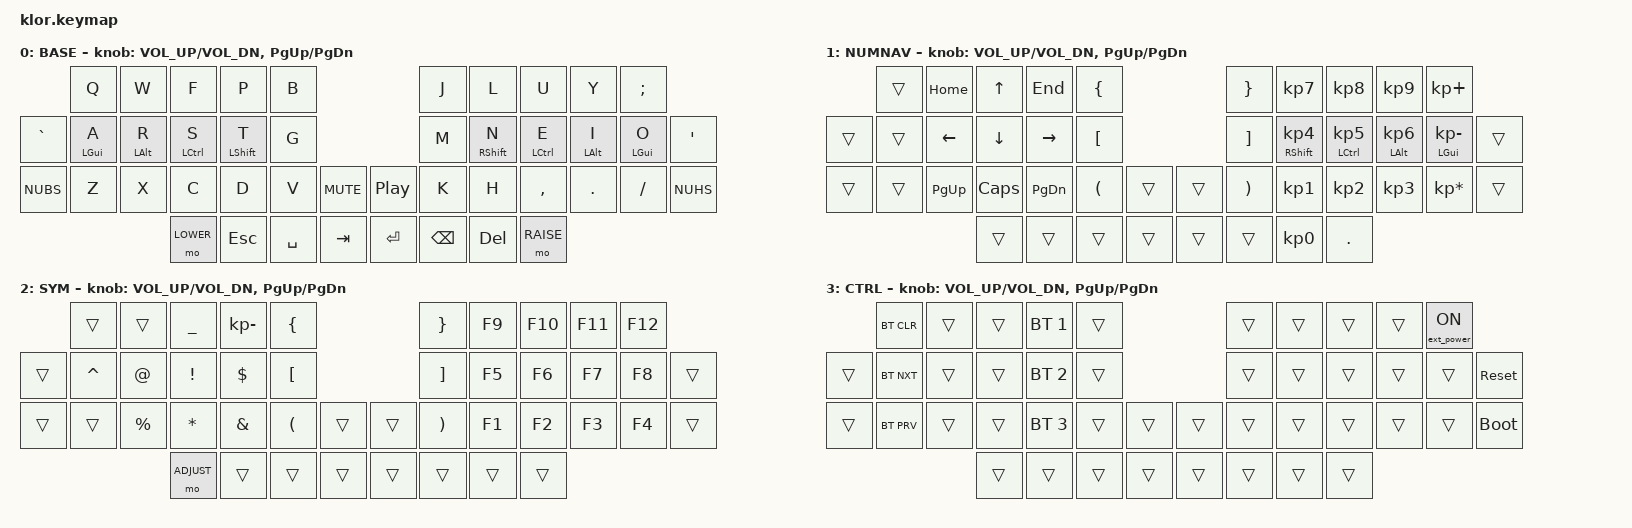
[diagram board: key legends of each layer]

//                               █         █    █            ▄▄▄▀▀▀▀▀▀▄▄▄        █▀▀▀▀▀▀▀▀▀▀█
//                               █        █     █          ▄▀            ▀▄      █          █
//                               █       █      █        ▄▀                ▀▄    █          █
//                               █      █       █        █                  █    █          █
//                               █     █        █       █                    █   █          █
//                               █    █         █       █                    █   █▄▄▄▄▄▄▄▄▄▄█
//                               █   █ █        █       █                    █   █      █
//                               █  █   █       █        █                  █    █       █
//                               █ █     █      █        ▀▄                ▄▀    █        █
//                               ██       █     █          ▀▄            ▄▀      █         █
//                               █         █    █▄▄▄▄▄▄▄▄    ▀▀▀▄▄▄▄▄▄▀▀▀        █          █
//
// ▄▄▄▄▄▄▄▄▄▄▄▄▄▄▄▄▄▄▄▄▄▄▄▄▄▄▄▄▄▄▄▄▄▄▄▄▄▄▄▄▄▄▄▄▄▄▄▄▄▄▄▄▄▄▄▄▄▄▄▄▄▄▄▄▄▄▄▄▄▄▄▄▄▄▄▄▄▄▄▄▄▄▄▄▄▄▄▄▄▄▄▄▄▄▄▄▄▄▄▄▄▄▄▄▄▄▄▄▄▄▄▄▄▄▄▄▄▄▄▄▄▄▄▄▄

#include <behaviors.dtsi>
#include <dt-bindings/zmk/keys.h>
#include <dt-bindings/zmk/bt.h>
#include <dt-bindings/zmk/outputs.h>
#include <dt-bindings/zmk/ext_power.h>
#include <dt-bindings/zmk/rgb.h>


#define BASE   0
#define LOWER  1
#define RAISE  2
#define ADJUST 3


/ {
    behaviors {
        hm: homerow_mods {
            compatible = "zmk,behavior-hold-tap";
            label = "HOMEROW_MODS";
            #binding-cells = <2>;
            tapping-term-ms = <150>;
            quick_tap_ms = <0>;
            flavor = "tap-preferred";
            bindings = <&kp>, <&kp>;
        };

    };

     combos {
            compatible = "zmk,combos";
            combo_esc {
                timeout-ms = <50>;
                key-positions = <0 1>;
                bindings = <&kp ESC>;
            };
    };


        keymap {
                compatible = "zmk,keymap";
// ▄▄▄▄▄▄▄▄▄▄▄▄▄▄▄▄▄▄▄▄▄▄▄▄▄▄▄▄▄▄▄▄▄▄▄▄▄▄▄▄▄▄▄▄▄▄▄▄▄▄▄▄▄▄▄▄▄▄▄▄▄▄▄▄▄▄▄▄▄▄▄▄▄▄▄▄▄▄▄▄▄▄▄▄▄▄▄▄▄▄▄▄▄▄▄▄▄▄▄▄▄▄▄▄▄▄▄▄▄▄▄▄▄▄▄▄▄▄▄▄▄▄▄▄▄▄▄▄▄▄▄▄▄▄▄▄▄▄▄▄▄▄


                base_layer {
// ┌-----------------------------------------------------------┐
label= "BASE"                                                  ;
// └-----------------------------------------------------------┘
/*            ┌---------┬---------┬---------┬---------┬---------┐                    ┌---------┬---------┬---------┬---------┬---------┐
              │    Q    │    W    │    F    │    P    │    B    │                    │    J    │    L    │    U    │    Y    │    ;:   │
   ┌---------┼---------┼---------┼---------┼---------┼---------┤                    ├---------┼---------┼---------┼---------┼---------┼---------┐
   │    `    │    gA   │    aR   │   cS    │   sT    │    G    │                    │    M    │    sN   │    cE   │    aI   │    gO   │    '"   │
   ├---------┼---------┼---------┼---------┼---------┼---------┤╭------╮╭--------╮├---------┼---------┼---------┼---------┼---------┼---------┤
   │    \|   │    Z    │    X    │    C    │    D    │    V    ││ MUTE ││PLY/PSE ││    K    │    H    │    ,<   │    .>   │    /?   │    #~   │
   └---------┴---------┴---------┼---------┼---------┼---------┼╰------╯╰--------╯┼---------┼---------┼---------┼---------┴---------┴---------┘
                                 │  LOWER  │  ESC    │  SPACE  │   TAB   │  │   ENTER │  BSCPE  │  DEL    │  RAISE  │
                                 └---------┴---------┴---------┴---------┘  └---------┴---------┴---------┴---------┘ */
 bindings = <
 //   ╷         ╷         ╷         ╷         ╷         ╷         ╷         ╷     ╷         ╷         ╷         ╷         ╷         ╷         ╷         ╷
                 &kp Q     &kp W     &kp F     &kp P     &kp B                                 &kp J     &kp L     &kp U     &kp Y     &kp SEMI
       &kp GRAVE &hm LGUI A &hm LALT R &hm LCTRL S &hm LSHFT T &kp G                           &kp M &hm RSHFT N &hm LCTRL E &hm LALT I &hm LGUI O &kp SQT
       &kp NUBS  &kp Z     &kp X     &kp C     &kp D     &kp V    &kp C_MUTE  &kp C_PLAY_PAUSE &kp K     &kp H     &kp COMMA &kp DOT   &kp FSLH  &kp NUHS
                                     &mo LOWER &kp ESC &kp SPACE &kp TAB             &kp RET  &kp BSPC   &kp DEL &mo RAISE
                        >;
            sensor-bindings = <&inc_dec_kp C_VOL_UP C_VOL_DN &inc_dec_kp PG_UP PG_DN>;
                };

// ▄▄▄▄▄▄▄▄▄▄▄▄▄▄▄▄▄▄▄▄▄▄▄▄▄▄▄▄▄▄▄▄▄▄▄▄▄▄▄▄▄▄▄▄▄▄▄▄▄▄▄▄▄▄▄▄▄▄▄▄▄▄▄▄▄▄▄▄▄▄▄▄▄▄▄▄▄▄▄▄▄▄▄▄▄▄▄▄▄▄▄▄▄▄▄▄▄▄▄▄▄▄▄▄▄▄▄▄▄▄▄▄▄▄▄▄▄▄▄▄▄▄▄▄▄▄▄▄▄▄▄▄▄▄▄▄▄▄▄▄▄▄


                lower_layer {
// ┌-----------------------------------------------------------┐
label= "NUMNAV"                                                 ;
// └-----------------------------------------------------------┘
/*            ┌---------┬---------┬---------┬---------┬---------┐                    ┌---------┬---------┬---------┬---------┬---------┐
              │         │   HOME  │   UP    │  END    │    {    │                    │    }    │    7    │    8    │    9    │    +    │
   ┌---------┼---------┼---------┼---------┼---------┼---------┤                    ├---------┼---------┼---------┼---------┼---------┼---------┐
   │         │         │   LEFT  │  DOWN   │  RIGHT  │    (    │                    │    )    │   s4    │   c5    │    a6    │    g-    │         │
   ├---------┼---------┼---------┼---------┼---------┼---------┤╭--------╮╭--------╮├---------┼---------┼---------┼---------┼---------┼---------┤
   │         │         │   P UP  │ C LOCK  │ P DOWN  │    [    ││        ││        ││    ]    │    1    │    2    │    3    │    *    │         │
   └---------┴---------┴---------┼---------┼---------┼---------┼╰--------╯╰--------╯┼---------┼---------┼---------┼---------┴---------┴---------┘
                                 │         │         │         │         ││         │         │    0    │    .    │
                                 └---------┴---------┴---------┴---------┘└---------┴---------┴---------┴---------┘ */
 bindings = <
 //╷         ╷         ╷         ╷         ╷         ╷         ╷         ╷╷         ╷         ╷         ╷         ╷         ╷         ╷         ╷
              &trans    &kp HOME   &kp UP    &kp END  &kp LBRC                       &kp RBRC  &kp KP_N7 &kp KP_N8 &kp KP_N9 &kp KP_PLUS
    &trans    &trans    &kp LEFT  &kp DOWN  &kp RIGHT &kp LBKT                       &kp RBKT  &hm RSHFT KP_N4 &hm LCTRL KP_N5 &hm LALT KP_N6 &hm LGUI KP_MINUS &trans
    &trans    &trans    &kp PG_UP &kp CAPS  &kp PG_DN &kp LPAR  &trans     &trans    &kp RPAR  &kp KP_N1 &kp KP_N2 &kp KP_N3 &kp KP_MULTIPLY &trans
                                  &trans    &trans    &trans    &trans     &trans    &trans    &kp KP_N0 &kp DOT
                        >;
            sensor-bindings = <&inc_dec_kp C_VOL_UP C_VOL_DN &inc_dec_kp PG_UP PG_DN>;
                };

// ▄▄▄▄▄▄▄▄▄▄▄▄▄▄▄▄▄▄▄▄▄▄▄▄▄▄▄▄▄▄▄▄▄▄▄▄▄▄▄▄▄▄▄▄▄▄▄▄▄▄▄▄▄▄▄▄▄▄▄▄▄▄▄▄▄▄▄▄▄▄▄▄▄▄▄▄▄▄▄▄▄▄▄▄▄▄▄▄▄▄▄▄▄▄▄▄▄▄▄▄▄▄▄▄▄▄▄▄▄▄▄▄▄▄▄▄▄▄▄▄▄▄▄▄▄


                raise_layer {
// ┌-----------------------------------------------------------┐
label= "SYM"                                                 ;
// └-----------------------------------------------------------┘
/*            ┌---------┬---------┬---------┬---------┬---------┐                    ┌---------┬---------┬---------┬---------┬---------┐
              │         │         │    _    │   -     │    {    │                    │    }    │    F9   │   F10   │  F11    │   F12   │
   ┌---------┼---------┼---------┼---------┼---------┼---------┤                    ├---------┼---------┼---------┼---------┼---------┼---------┐
   │         │    ^    │    @    │    !    │    $    │    (    │                    │    )    │    F5   │    F6   │   F7    │    F8   │         │
   ├---------┼---------┼---------┼---------┼---------┼---------┤╭--------╮╭--------╮├---------┼---------┼---------┼---------┼---------┼---------┤
   │         │         │    %    │    *    │    &    │    [    ││        ││        ││    ]    │    F1   │   F2    │   F3    │   F4    │         │
   └---------┴---------┴---------┼---------┼---------┼---------┼╰--------╯╰--------╯┼---------┼---------┼---------┼---------┴---------┴---------┘
                                 │ ADJUST  │         │         │         ││         │         │         │         │
                                 └---------┴---------┴---------┴---------┘└---------┴---------┴---------┴---------┘ */
 bindings = <
 //╷         ╷         ╷         ╷         ╷         ╷         ╷         ╷╷         ╷         ╷         ╷         ╷         ╷         ╷         ╷
              &trans    &trans &kp UNDER &kp KP_MINUS &kp LBRC                         &kp RBRC  &kp F9    &kp F10   &kp F11   &kp F12
    &trans    &kp CARET &kp AT    &kp EXCL  &kp DLLR  &kp LBKT                         &kp RBKT  &kp F5    &kp F6    &kp F7    &kp F8    &trans
    &trans    &trans    &kp PRCNT &kp STAR  &kp AMPS  &kp LPAR    &trans     &trans    &kp RPAR  &kp F1    &kp F2    &kp F3    &kp F4    &trans
                                  &mo ADJUST &trans   &trans      &trans     &trans    &trans    &trans    &trans
                        >;
            sensor-bindings = <&inc_dec_kp C_VOL_UP C_VOL_DN &inc_dec_kp PG_UP PG_DN>;
                };

// ▄▄▄▄▄▄▄▄▄▄▄▄▄▄▄▄▄▄▄▄▄▄▄▄▄▄▄▄▄▄▄▄▄▄▄▄▄▄▄▄▄▄▄▄▄▄▄▄▄▄▄▄▄▄▄▄▄▄▄▄▄▄▄▄▄▄▄▄▄▄▄▄▄▄▄▄▄▄▄▄▄▄▄▄▄▄▄▄▄▄▄▄▄▄▄▄▄▄▄▄▄▄▄▄▄▄▄▄▄▄▄▄▄▄▄▄▄▄▄▄▄▄▄▄▄


                adjust_layer {
// ┌-----------------------------------------------------------┐
label= "CTRL"                                                ;
// └-----------------------------------------------------------┘
/*           ┌---------┬---------┬---------┬---------┬---------┐                    ┌---------┬---------┬---------┬---------┬---------┐
             │BT CLEAR │         │         │   BT 1  │         │                    │         │         │         │         │         │
   ┌---------┼---------┼---------┼---------┼---------┼---------┤                    ├---------┼---------┼---------┼---------┼---------┼---------┐
   │         │ BT NEXT │         │         │   BT 2  │         │                    │         │         │         │         │         │  RESET  │
   ├---------┼---------┼---------┼---------┼---------┼---------┤╭--------╮╭--------╮├---------┼---------┼---------┼---------┼---------┼---------┤
   │         │ BT PREV │         │         │   BT 3  │         ││        ││        ││         │         │         │         │         │BOOTLOAD │
   └---------┴---------┴---------┼---------┼---------┼---------┼╰--------╯╰--------╯┼---------┼---------┼---------┼---------┴---------┴---------┘
                                 │         │         │         │         ││         │         │         │         │
                                 └---------┴---------┴---------┴---------┘└---------┴---------┴---------┴---------┘ */
 bindings = <
 //╷         ╷         ╷         ╷         ╷         ╷         ╷         ╷╷         ╷         ╷         ╷         ╷         ╷         ╷         ╷
             &bt BT_CLR &trans    &trans &bt BT_SEL 1 &trans                         &trans    &trans    &trans    &trans    &ext_power EP_ON
    &trans   &bt BT_NXT &trans    &trans &bt BT_SEL 2 &trans                         &trans    &trans    &trans    &trans    &trans   &sys_reset
    &trans   &bt BT_PRV &trans    &trans &bt BT_SEL 3 &trans    &trans     &trans    &trans    &trans    &trans    &trans    &trans   &bootloader
                                  &trans    &trans    &trans    &trans     &trans    &trans    &trans    &trans
                        >;
            sensor-bindings = <&inc_dec_kp C_VOL_UP C_VOL_DN &inc_dec_kp PG_UP PG_DN>;
                };

        };
};
